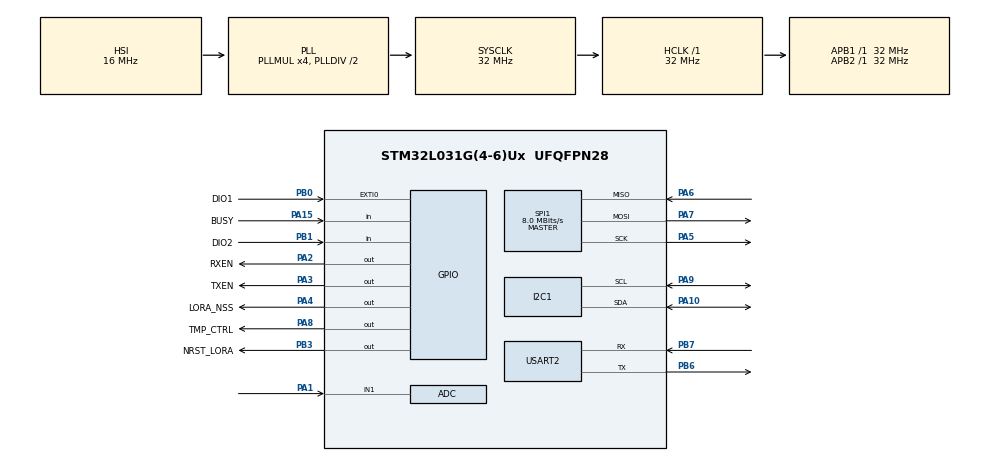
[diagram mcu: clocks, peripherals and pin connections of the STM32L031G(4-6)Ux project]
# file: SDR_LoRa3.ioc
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I2C1.Timing=0x00B07CB4
Mcu.Family=STM32L0
Mcu.Name=STM32L031G(4-6)Ux
Mcu.Package=UFQFPN28
NVIC.EXTI0_1_IRQn=true\:0\:0\:false\:false\:true\:true\:true\:true
NVIC.USART2_IRQn=true\:0\:0\:false\:false\:true\:true\:true\:true
PA1.Mode=IN1
PA1.Signal=ADC_IN1
PA10.Mode=I2C
PA10.Signal=I2C1_SDA
PA13.Mode=Serial_Wire
PA13.Signal=SYS_SWDIO
PA14.Mode=Serial_Wire
PA14.Signal=SYS_SWCLK
PA15.GPIO_Label=BUSY
PA15.GPIO_PuPd=GPIO_PULLUP
PA15.Signal=GPIO_Input
PA2.GPIO_Label=RXEN
PA2.GPIO_PuPd=GPIO_PULLUP
PA2.Signal=GPIO_Output
PA3.GPIO_Label=TXEN
PA3.GPIO_PuPd=GPIO_PULLUP
PA3.Signal=GPIO_Output
PA4.GPIO_Label=LORA_NSS
PA4.GPIO_ModeDefaultOutputPP=GPIO_MODE_OUTPUT_PP
PA4.GPIO_PuPd=GPIO_NOPULL
PA4.PinState=GPIO_PIN_SET
PA4.Signal=GPIO_Output
PA5.Mode=Full_Duplex_Master
PA5.Signal=SPI1_SCK
PA6.Mode=Full_Duplex_Master
PA6.Signal=SPI1_MISO
PA7.Mode=Full_Duplex_Master
PA7.Signal=SPI1_MOSI
PA8.GPIO_Label=TMP_CTRL
PA8.GPIO_ModeDefaultOutputPP=GPIO_MODE_OUTPUT_PP
PA8.GPIO_PuPd=GPIO_NOPULL
PA8.PinState=GPIO_PIN_RESET
PA8.Signal=GPIO_Output
PA9.Mode=I2C
PA9.Signal=I2C1_SCL
PB0.GPIO_Label=DIO1
PB0.GPIO_PuPd=GPIO_PULLDOWN
PB0.Signal=GPXTI0
PB1.GPIO_Label=DIO2
PB1.GPIO_PuPd=GPIO_PULLDOWN
PB1.Signal=GPIO_Input
PB3.GPIO_Label=NRST_LORA
PB3.GPIO_PuPd=GPIO_PULLUP
PB3.Signal=GPIO_Output
PB6.Mode=Asynchronous
PB6.Signal=USART2_TX
PB7.Mode=Asynchronous
PB7.Signal=USART2_RX
ProjectManager.HeapSize=0x200
ProjectManager.StackSize=0x400
ProjectManager.TargetToolchain=MDK-ARM V5
RCC.AHBFreq_Value=32000000
RCC.APB1Freq_Value=32000000
RCC.APB1TimFreq_Value=32000000
RCC.APB2Freq_Value=32000000
RCC.APB2TimFreq_Value=32000000
RCC.HCLKFreq_Value=32000000
RCC.HSE_VALUE=8000000
RCC.HSI16_VALUE=16000000
RCC.HSI_VALUE=16000000
RCC.LSE_VALUE=32768
RCC.MSI_VALUE=2097000
RCC.PLLMUL=RCC_PLLMUL_4
RCC.SYSCLKFreq_VALUE=32000000
RCC.SYSCLKSource=RCC_SYSCLKSOURCE_PLLCLK
RCC.VCOOutputFreq_Value=64000000
SPI1.BaudRatePrescaler=SPI_BAUDRATEPRESCALER_4
SPI1.CalculateBaudRate=8.0 MBits/s
SPI1.Direction=SPI_DIRECTION_2LINES
SPI1.Mode=SPI_MODE_MASTER
SPI1.VirtualNSS=VM_NSSSOFT
SPI1.VirtualType=VM_MASTER
TIM2.Period=0
TIM2.Prescaler=32-1
TIM21.Period=100
TIM21.Prescaler=1599
USART2.VirtualMode-Asynchronous=VM_ASYNC
VP_SYS_VS_LPOM.Mode=PowerOptimisation
VP_TIM21_VS_ClockSourceINT.Mode=Internal
VP_TIM2_VS_ClockSourceINT.Mode=Internal
board=custom

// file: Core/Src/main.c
/* USER CODE BEGIN Header */
/**
  ******************************************************************************
  * @file           : main.c
  * @brief          : Main program body
  ******************************************************************************
  * @attention
  *
  * Copyright (c) 2026 STMicroelectronics.
  * All rights reserved.
  *
  * This software is licensed under terms that can be found in the LICENSE file
  * in the root directory of this software component.
  * If no LICENSE file comes with this software, it is provided AS-IS.
  *
  ******************************************************************************
  */
/* USER CODE END Header */
#include "main.h"

/* USER CODE BEGIN Includes */
#include "UserConfig.h"
#include "sx126x.h"
#include "driver_timer.h"
#include <stdio.h>
#include "TMP117.h"
/* USER CODE END Includes */

/* USER CODE BEGIN PD */
#define KEY_UP_GPIO_PIN               LCC68_DIO1_PIN
#define KEY_UP_GPIO_PORT              LCC68_DIO1_PORT
/* USER CODE END PD */

ADC_HandleTypeDef hadc;

I2C_HandleTypeDef hi2c1;

SPI_HandleTypeDef hspi1;

TIM_HandleTypeDef htim2;
TIM_HandleTypeDef htim21;

UART_HandleTypeDef huart2;

/* USER CODE BEGIN PV */
static uint32_t dataProcessingTick;

/* USER CODE END PV */

void SystemClock_Config(void);
static void MX_GPIO_Init(void);
static void MX_ADC_Init(void);
static void MX_I2C1_Init(void);
static void MX_SPI1_Init(void);
static void MX_TIM2_Init(void);
static void MX_TIM21_Init(void);
static void MX_USART2_UART_Init(void);

/* USER CODE BEGIN 0 */
void HAL_GPIO_EXTI_Callback(uint16_t GPIO_Pin)
{
    if(GPIO_Pin == KEY_UP_GPIO_PIN)
    {
        IrqFired = true;
    }
}
/* USER CODE END 0 */

int main(void)
{

  /* MCU Configuration--------------------------------------------------------*/

  /* Reset of all peripherals, Initializes the Flash interface and the Systick. */
  HAL_Init();

  /* Configure the system clock */
  SystemClock_Config();

  /* Initialize all configured peripherals */
  MX_GPIO_Init();
  MX_ADC_Init();
  MX_I2C1_Init();
  MX_SPI1_Init();
  MX_TIM2_Init();
  MX_TIM21_Init();
  MX_USART2_UART_Init();
  /* USER CODE BEGIN 2 */
	IrqFired = false;
	radioFlag = 0x00;
	LoraInit();
  dataProcessingTick = HAL_GetTick();
  HAL_NVIC_EnableIRQ(EXTI0_1_IRQn);

  /* USER CODE END 2 */

  /* Infinite loop */
  while (1)
  {

    /* USER CODE BEGIN 3 */
    DX_Lora_RadioIrqProcess();
#if TEST
    Data_Processing();
#else
    if ((uint32_t)(HAL_GetTick() - dataProcessingTick) >= 1000U)
    {
      dataProcessingTick = HAL_GetTick();
      Data_Processing();
    }
#endif
  }
  /* USER CODE END 3 */
}

void SystemClock_Config(void)
{
  RCC_OscInitTypeDef RCC_OscInitStruct = {0};
  RCC_ClkInitTypeDef RCC_ClkInitStruct = {0};
  RCC_PeriphCLKInitTypeDef PeriphClkInit = {0};

  /** Configure the main internal regulator output voltage
  */
  __HAL_PWR_VOLTAGESCALING_CONFIG(PWR_REGULATOR_VOLTAGE_SCALE1);

  /** Initializes the RCC Oscillators according to the specified parameters
  * in the RCC_OscInitTypeDef structure.
  */
  RCC_OscInitStruct.OscillatorType = RCC_OSCILLATORTYPE_HSI;
  RCC_OscInitStruct.HSIState = RCC_HSI_ON;
  RCC_OscInitStruct.HSICalibrationValue = RCC_HSICALIBRATION_DEFAULT;
  RCC_OscInitStruct.PLL.PLLState = RCC_PLL_ON;
  RCC_OscInitStruct.PLL.PLLSource = RCC_PLLSOURCE_HSI;
  RCC_OscInitStruct.PLL.PLLMUL = RCC_PLLMUL_4;
  RCC_OscInitStruct.PLL.PLLDIV = RCC_PLLDIV_2;
  if (HAL_RCC_OscConfig(&RCC_OscInitStruct) != HAL_OK)
  {
    Error_Handler();
  }

  /** Initializes the CPU, AHB and APB buses clocks
  */
  RCC_ClkInitStruct.ClockType = RCC_CLOCKTYPE_HCLK|RCC_CLOCKTYPE_SYSCLK
                              |RCC_CLOCKTYPE_PCLK1|RCC_CLOCKTYPE_PCLK2;
  RCC_ClkInitStruct.SYSCLKSource = RCC_SYSCLKSOURCE_PLLCLK;
  RCC_ClkInitStruct.AHBCLKDivider = RCC_SYSCLK_DIV1;
  RCC_ClkInitStruct.APB1CLKDivider = RCC_HCLK_DIV1;
  RCC_ClkInitStruct.APB2CLKDivider = RCC_HCLK_DIV1;

  if (HAL_RCC_ClockConfig(&RCC_ClkInitStruct, FLASH_LATENCY_1) != HAL_OK)
  {
    Error_Handler();
  }
  PeriphClkInit.PeriphClockSelection = RCC_PERIPHCLK_USART2|RCC_PERIPHCLK_I2C1;
  PeriphClkInit.Usart2ClockSelection = RCC_USART2CLKSOURCE_PCLK1;
  PeriphClkInit.I2c1ClockSelection = RCC_I2C1CLKSOURCE_PCLK1;
  if (HAL_RCCEx_PeriphCLKConfig(&PeriphClkInit) != HAL_OK)
  {
    Error_Handler();
  }
}

static void MX_ADC_Init(void)
{

  ADC_ChannelConfTypeDef sConfig = {0};

  /** Configure the global features of the ADC (Clock, Resolution, Data Alignment and number of conversion)
  */
  hadc.Instance = ADC1;
  hadc.Init.OversamplingMode = DISABLE;
  hadc.Init.ClockPrescaler = ADC_CLOCK_SYNC_PCLK_DIV2;
  hadc.Init.Resolution = ADC_RESOLUTION_12B;
  hadc.Init.SamplingTime = ADC_SAMPLETIME_1CYCLE_5;
  hadc.Init.ScanConvMode = ADC_SCAN_DIRECTION_FORWARD;
  hadc.Init.DataAlign = ADC_DATAALIGN_RIGHT;
  hadc.Init.ContinuousConvMode = DISABLE;
  hadc.Init.DiscontinuousConvMode = DISABLE;
  hadc.Init.ExternalTrigConvEdge = ADC_EXTERNALTRIGCONVEDGE_NONE;
  hadc.Init.ExternalTrigConv = ADC_SOFTWARE_START;
  hadc.Init.DMAContinuousRequests = DISABLE;
  hadc.Init.EOCSelection = ADC_EOC_SINGLE_CONV;
  hadc.Init.Overrun = ADC_OVR_DATA_PRESERVED;
  hadc.Init.LowPowerAutoWait = DISABLE;
  hadc.Init.LowPowerFrequencyMode = DISABLE;
  hadc.Init.LowPowerAutoPowerOff = DISABLE;
  if (HAL_ADC_Init(&hadc) != HAL_OK)
  {
    Error_Handler();
  }

  /** Configure for the selected ADC regular channel to be converted.
  */
  sConfig.Channel = ADC_CHANNEL_1;
  sConfig.Rank = ADC_RANK_CHANNEL_NUMBER;
  if (HAL_ADC_ConfigChannel(&hadc, &sConfig) != HAL_OK)
  {
    Error_Handler();
  }

}

static void MX_I2C1_Init(void)
{

  hi2c1.Instance = I2C1;
  hi2c1.Init.Timing = 0x00B07CB4;
  hi2c1.Init.OwnAddress1 = 0;
  hi2c1.Init.AddressingMode = I2C_ADDRESSINGMODE_7BIT;
  hi2c1.Init.DualAddressMode = I2C_DUALADDRESS_DISABLE;
  hi2c1.Init.OwnAddress2 = 0;
  hi2c1.Init.OwnAddress2Masks = I2C_OA2_NOMASK;
  hi2c1.Init.GeneralCallMode = I2C_GENERALCALL_DISABLE;
  hi2c1.Init.NoStretchMode = I2C_NOSTRETCH_DISABLE;
  if (HAL_I2C_Init(&hi2c1) != HAL_OK)
  {
    Error_Handler();
  }

  /** Configure Analogue filter
  */
  if (HAL_I2CEx_ConfigAnalogFilter(&hi2c1, I2C_ANALOGFILTER_ENABLE) != HAL_OK)
  {
    Error_Handler();
  }

  /** Configure Digital filter
  */
  if (HAL_I2CEx_ConfigDigitalFilter(&hi2c1, 0) != HAL_OK)
  {
    Error_Handler();
  }

}

static void MX_SPI1_Init(void)
{

  /* SPI1 parameter configuration*/
  hspi1.Instance = SPI1;
  hspi1.Init.Mode = SPI_MODE_MASTER;
  hspi1.Init.Direction = SPI_DIRECTION_2LINES;
  hspi1.Init.DataSize = SPI_DATASIZE_8BIT;
  hspi1.Init.CLKPolarity = SPI_POLARITY_LOW;
  hspi1.Init.CLKPhase = SPI_PHASE_1EDGE;
  hspi1.Init.NSS = SPI_NSS_SOFT;
  hspi1.Init.BaudRatePrescaler = SPI_BAUDRATEPRESCALER_4;
  hspi1.Init.FirstBit = SPI_FIRSTBIT_MSB;
  hspi1.Init.TIMode = SPI_TIMODE_DISABLE;
  hspi1.Init.CRCCalculation = SPI_CRCCALCULATION_DISABLE;
  hspi1.Init.CRCPolynomial = 7;
  if (HAL_SPI_Init(&hspi1) != HAL_OK)
  {
    Error_Handler();
  }

}

static void MX_TIM2_Init(void)
{

  TIM_ClockConfigTypeDef sClockSourceConfig = {0};
  TIM_MasterConfigTypeDef sMasterConfig = {0};

  htim2.Instance = TIM2;
  htim2.Init.Prescaler = 32-1;
  htim2.Init.CounterMode = TIM_COUNTERMODE_UP;
  htim2.Init.Period = 0;
  htim2.Init.ClockDivision = TIM_CLOCKDIVISION_DIV1;
  htim2.Init.AutoReloadPreload = TIM_AUTORELOAD_PRELOAD_DISABLE;
  if (HAL_TIM_Base_Init(&htim2) != HAL_OK)
  {
    Error_Handler();
  }
  sClockSourceConfig.ClockSource = TIM_CLOCKSOURCE_INTERNAL;
  if (HAL_TIM_ConfigClockSource(&htim2, &sClockSourceConfig) != HAL_OK)
  {
    Error_Handler();
  }
  sMasterConfig.MasterOutputTrigger = TIM_TRGO_RESET;
  sMasterConfig.MasterSlaveMode = TIM_MASTERSLAVEMODE_DISABLE;
  if (HAL_TIMEx_MasterConfigSynchronization(&htim2, &sMasterConfig) != HAL_OK)
  {
    Error_Handler();
  }

}

static void MX_TIM21_Init(void)
{

  TIM_ClockConfigTypeDef sClockSourceConfig = {0};
  TIM_MasterConfigTypeDef sMasterConfig = {0};

  htim21.Instance = TIM21;
  htim21.Init.Prescaler = 1599;
  htim21.Init.CounterMode = TIM_COUNTERMODE_UP;
  htim21.Init.Period = 100;
  htim21.Init.ClockDivision = TIM_CLOCKDIVISION_DIV1;
  htim21.Init.AutoReloadPreload = TIM_AUTORELOAD_PRELOAD_DISABLE;
  if (HAL_TIM_Base_Init(&htim21) != HAL_OK)
  {
    Error_Handler();
  }
  sClockSourceConfig.ClockSource = TIM_CLOCKSOURCE_INTERNAL;
  if (HAL_TIM_ConfigClockSource(&htim21, &sClockSourceConfig) != HAL_OK)
  {
    Error_Handler();
  }
  sMasterConfig.MasterOutputTrigger = TIM_TRGO_RESET;
  sMasterConfig.MasterSlaveMode = TIM_MASTERSLAVEMODE_DISABLE;
  if (HAL_TIMEx_MasterConfigSynchronization(&htim21, &sMasterConfig) != HAL_OK)
  {
    Error_Handler();
  }

}

static void MX_USART2_UART_Init(void)
{

  huart2.Instance = USART2;
  huart2.Init.BaudRate = 115200;
  huart2.Init.WordLength = UART_WORDLENGTH_8B;
  huart2.Init.StopBits = UART_STOPBITS_1;
  huart2.Init.Parity = UART_PARITY_NONE;
  huart2.Init.Mode = UART_MODE_TX_RX;
  huart2.Init.HwFlowCtl = UART_HWCONTROL_NONE;
  huart2.Init.OverSampling = UART_OVERSAMPLING_16;
  huart2.Init.OneBitSampling = UART_ONE_BIT_SAMPLE_DISABLE;
  huart2.AdvancedInit.AdvFeatureInit = UART_ADVFEATURE_NO_INIT;
  if (HAL_UART_Init(&huart2) != HAL_OK)
  {
    Error_Handler();
  }

}

static void MX_GPIO_Init(void)
{
  GPIO_InitTypeDef GPIO_InitStruct = {0};

  /* GPIO Ports Clock Enable */
  __HAL_RCC_GPIOA_CLK_ENABLE();
  __HAL_RCC_GPIOB_CLK_ENABLE();

  HAL_GPIO_WritePin(LCC68_NSS_PORT, LCC68_NSS_PIN, GPIO_PIN_SET);
  GPIO_InitStruct.Pin = LCC68_NSS_PIN;
  GPIO_InitStruct.Mode = GPIO_MODE_OUTPUT_PP;
  GPIO_InitStruct.Pull = GPIO_NOPULL;
  GPIO_InitStruct.Speed = GPIO_SPEED_FREQ_HIGH;
  HAL_GPIO_Init(LCC68_NSS_PORT, &GPIO_InitStruct);

  /*Configure GPIO pin Output Level */
  HAL_GPIO_WritePin(GPIOA, RXEN_Pin|TXEN_Pin|TMP_CTRL_Pin, GPIO_PIN_RESET);

  /*Configure GPIO pin Output Level */
  HAL_GPIO_WritePin(NRST_LORA_GPIO_Port, NRST_LORA_Pin, GPIO_PIN_RESET);

  /*Configure GPIO pins : RXEN_Pin TXEN_Pin */
  GPIO_InitStruct.Pin = RXEN_Pin|TXEN_Pin;
  GPIO_InitStruct.Mode = GPIO_MODE_OUTPUT_PP;
  GPIO_InitStruct.Pull = GPIO_PULLUP;
  GPIO_InitStruct.Speed = GPIO_SPEED_FREQ_LOW;
  HAL_GPIO_Init(GPIOA, &GPIO_InitStruct);

  /*Configure GPIO pin : DIO1_Pin */
  GPIO_InitStruct.Pin = DIO1_Pin;
  GPIO_InitStruct.Mode = GPIO_MODE_IT_RISING;
  GPIO_InitStruct.Pull = GPIO_PULLDOWN;
  HAL_GPIO_Init(DIO1_GPIO_Port, &GPIO_InitStruct);

  /*Configure GPIO pin : DIO2_Pin */
  GPIO_InitStruct.Pin = DIO2_Pin;
  GPIO_InitStruct.Mode = GPIO_MODE_INPUT;
  GPIO_InitStruct.Pull = GPIO_PULLDOWN;
  HAL_GPIO_Init(DIO2_GPIO_Port, &GPIO_InitStruct);

  /*Configure GPIO pin : TMP_CTRL_Pin */
  GPIO_InitStruct.Pin = TMP_CTRL_Pin;
  GPIO_InitStruct.Mode = GPIO_MODE_OUTPUT_PP;
  GPIO_InitStruct.Pull = GPIO_NOPULL;
  GPIO_InitStruct.Speed = GPIO_SPEED_FREQ_LOW;
  HAL_GPIO_Init(TMP_CTRL_GPIO_Port, &GPIO_InitStruct);

  /*Configure GPIO pin : BUSY_Pin */
  GPIO_InitStruct.Pin = BUSY_Pin;
  GPIO_InitStruct.Mode = GPIO_MODE_INPUT;
  GPIO_InitStruct.Pull = GPIO_PULLUP;
  HAL_GPIO_Init(BUSY_GPIO_Port, &GPIO_InitStruct);

  /*Configure GPIO pin : NRST_LORA_Pin */
  GPIO_InitStruct.Pin = NRST_LORA_Pin;
  GPIO_InitStruct.Mode = GPIO_MODE_OUTPUT_PP;
  GPIO_InitStruct.Pull = GPIO_PULLUP;
  GPIO_InitStruct.Speed = GPIO_SPEED_FREQ_LOW;
  HAL_GPIO_Init(NRST_LORA_GPIO_Port, &GPIO_InitStruct);

  /* EXTI interrupt init*/
  HAL_NVIC_SetPriority(EXTI0_1_IRQn, 0, 0);
  __HAL_GPIO_EXTI_CLEAR_IT(DIO1_Pin);
  HAL_NVIC_ClearPendingIRQ(EXTI0_1_IRQn);

}

/* USER CODE BEGIN 4 */
int fputc(int ch, FILE *f)
{
	HAL_UART_Transmit(&huart2, (uint8_t*)&ch, 1, 10);
	return ch;
}

int fgetc(FILE *f)
{
    uint8_t ch = 0;
    HAL_UART_Receive(&huart2, (uint8_t*)&ch, 1, 10);
    return (int)ch;
}
#pragma import(__use_no_semihosting)

struct __FILE
{
	int a;
};

FILE __stdout;
FILE __stdin;
void _sys_exit(int x)
{

}
/* USER CODE END 4 */

void Error_Handler(void)
{
  __disable_irq();
  while (1)
  {
  }
}
